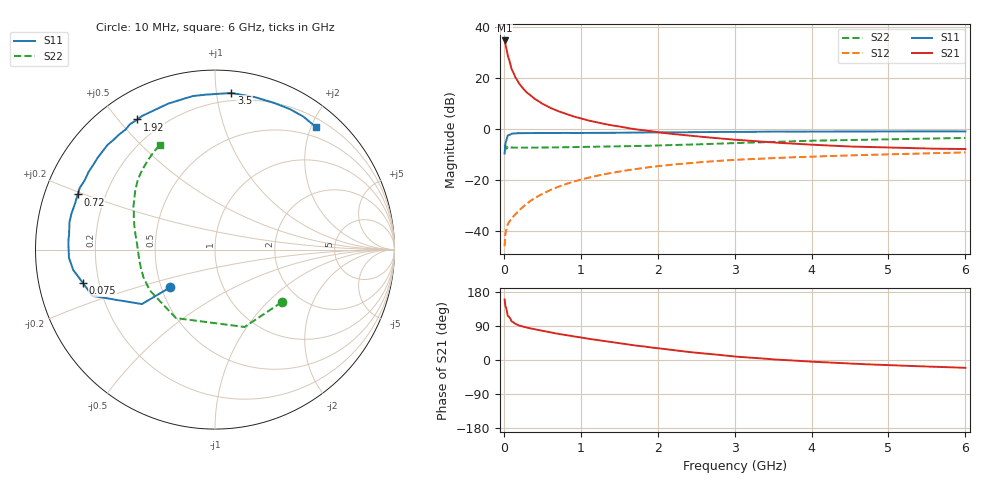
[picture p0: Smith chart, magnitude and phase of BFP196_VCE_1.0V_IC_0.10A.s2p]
! Infineon Technologies  Discrete & RF Semiconductors
! BFP196
! VCE = 1.0 V,  IC = 0.10A
! Common Emitter S-Parameters:  Jan 2016
# GHz  S  MA  R  50
!  f  S11  S21  S12  S22
! GHz  MAG  ANG  MAG  ANG  MAG  ANG  MAG  ANG
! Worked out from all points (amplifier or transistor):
!   210 points, 10 MHz to 6 GHz, reference 50 ohm
!   highest |S21| = 34.6 dB at 10 MHz (marker M1)
!   |S21| within 3 dB of that: start of sweep to 31.27 MHz
!   unconditionally stable (mu >= 1): start of sweep to 15.48 MHz; 176.4 MHz to end of sweep
!   at 185 MHz: K = 1.02, MAG = 24.6 dB, |S12| = -32.4 dB
!   at 1.52 GHz: K = 1.19, MAG = 6.1 dB, |S12| = -16.7 dB
!   at 6 GHz: K = 1.08, MAG = -1.1 dB, |S12| = -9.3 dB
!   S11 on the Smith chart (normalised r, x): 10 MHz: 0.56, -0.26; 75 MHz: 0.14, -0.12; 720 MHz: 0.10, +0.19; 1.92 GHz: 0.11, +0.56; 3.5 GHz: 0.15, +1.10; 6 GHz: 0.33, +2.07
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0.01  0.3266 -139.9  53.47 159.7  0.005 62.9  0.4732 -38.3
0.02  0.5078 -143.3  45.5 143.1  0.0087 56.3  0.4615 -69.1
0.05  0.7298 -159.3  27.2 117.3  0.0133 45.4  0.4394 -119.7
0.075  0.7594 -165.8  20.86 111.9  0.0153 46.9  0.4207 -133.8
0.1  0.7981 -171.8  14.85 102.1  0.0174 48.1  0.4288 -148.2
0.15  0.8148 -176.8  10.12 95.3  0.021 53.5  0.4273 -159.1
0.2  0.8171 179.1  7.631 90.8  0.0252 58.2  0.4254 -164.9
0.24  0.8179 176.9  6.388 88.4  0.0286 60.0  0.4253 -167.9
0.3  0.8173 174.0  5.092 85.2  0.0342 63.0  0.4255 -171.1
0.4  0.8252 169.3  3.849 80.9  0.0435 65.5  0.4263 -174.6
0.5  0.8245 165.9  3.086 77.1  0.0526 66.3  0.4277 -177.1
0.6  0.8211 162.2  2.58 73.1  0.0628 66.2  0.4287 -178.9
0.72  0.8241 158.1  2.171 68.5  0.0739 65.2  0.4308 179.1
1.02  0.8264 147.8  1.557 58.8  0.1023 62.0  0.4368 175.2
1.38  0.8349 136.5  1.179 47.9  0.1344 56.4  0.4465 170.9
1.92  0.8439 120.8  0.889 33.0  0.1785 47.4  0.4656 164.5
2.02  0.8477 118.1  0.845 30.6  0.1855 45.7  0.4698 163.2
3.1  0.8654 91.7  0.594 7.8  0.2493 28.2  0.5264 148.9
3.5  0.8774 84.0  0.536 1.7  0.2665 22.4  0.5511 143.8
4.1  0.8776 73.9  0.478 -5.4  0.2869 14.6  0.5849 136.6
5.1  0.8869 60.8  0.425 -14.4  0.3175 3.3  0.6238 126.5
6  0.8842 50.7  0.4 -20.6  0.3431 -6.8  0.6596 117.6
